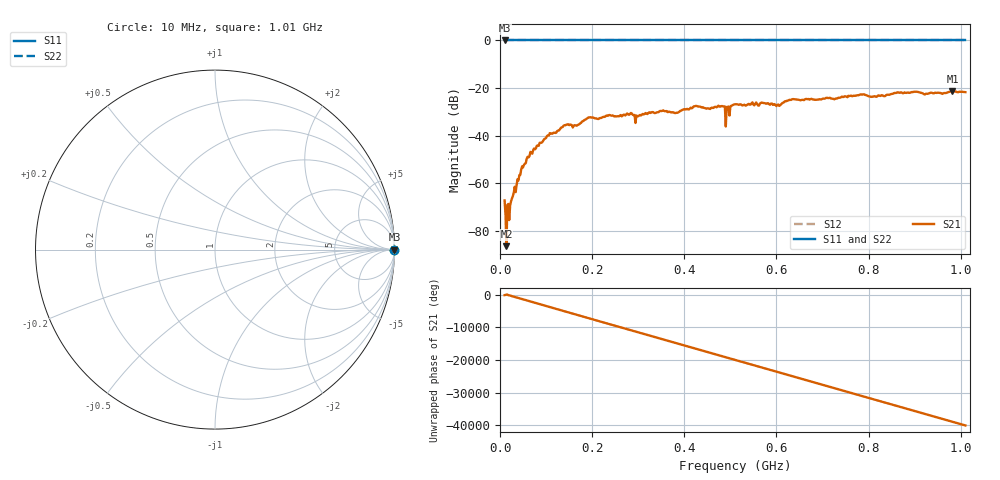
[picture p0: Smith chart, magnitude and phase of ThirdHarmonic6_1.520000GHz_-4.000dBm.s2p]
! 8/16/2025 5:56:13 PM
! C:\ANRITSUVNA\TEMP\TEMP.S2P
! CHANNEL.1
! TR.MEASUREMENT
! RAW.DATA
! RF.CORRECTION.OFF
! AVERAGING.OFF
! IF.BANDWIDTH: 5KHZ
! SWEEPTYPE:  FREQ.SWEEP(Linear)
! Reference Plane Port Info
! PORT:  PORT1  PORT2
! DISTANCE:  0  m  0  m
! TIME:  0  s  0  s
! PHASE.OFFSET:  0  deg.  0  deg.
! LOSS:  0  dB  0  dB
! REF.LOSS:  0  dB  0  dB
! REF.FREQ:  0  Hz  0  Hz
! Power Info
! POWER:  -20  dBm  -20  dBm
! EFF.POWER:  -20  dBm  -20  dBm
! SOURCE.ATTEN:  0  dB  0  dB
! TEST.ATTEN:  0  dB  0  dB
# GHZ S RI R 50.0
! FREQ.GHZ  S11RE  S11IM  S21RE  S21IM  S12RE  S12IM  S22RE  S22IM
!; PortSelection: Port_12
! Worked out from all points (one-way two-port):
!   501 points, 10 MHz to 1.01 GHz, reference 50 ohm
!   highest |S21| = -21.29 dB at 982 MHz (marker M1); lowest = -86.3 dB at 14 MHz (marker M2)
!   lowest |S11| = 0.0 dB at 10 MHz (marker M3)
!   |S11| at or under -10 dB: nowhere
!   |S22| runs from 0.0 to 0.0 dB; largest |S21 - S12| = 1.1
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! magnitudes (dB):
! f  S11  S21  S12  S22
! 10 MHz  0.0  -67.1  0.0  0.0
! 14 MHz  0.0  -86.3  0.0  0.0
! 18 MHz  0.0  -68.6  0.0  0.0
! 28 MHz  0.0  -65.3  0.0  0.0
! 50 MHz  0.0  -53.3  0.0  0.0
! 70 MHz  0.0  -47.5  0.0  0.0
! 106 MHz  0.0  -39.8  0.0  0.0
! 142 MHz  0.0  -35.6  0.0  0.0
! 178 MHz  0.0  -34.1  0.0  0.0
! 194 MHz  0.0  -32.3  0.0  0.0
! 280 MHz  0.0  -31.2  0.0  0.0
! 298 MHz  0.0  -31.7  0.0  0.0
! 344 MHz  0.0  -30.1  0.0  0.0
! 478 MHz  0.0  -27.8  0.0  0.0
! 494 MHz  0.0  -27.9  0.0  0.0
! 510 MHz  0.0  -26.8  0.0  0.0
! 604 MHz  0.0  -26.9  0.0  0.0
! 632 MHz  0.0  -24.9  0.0  0.0
! 678 MHz  0.0  -24.7  0.0  0.0
! 844 MHz  0.0  -22.8  0.0  0.0
! 982 MHz  0.0  -21.3  0.0  0.0
! 1.01 GHz  0.0  -21.7  0.0  0.0
